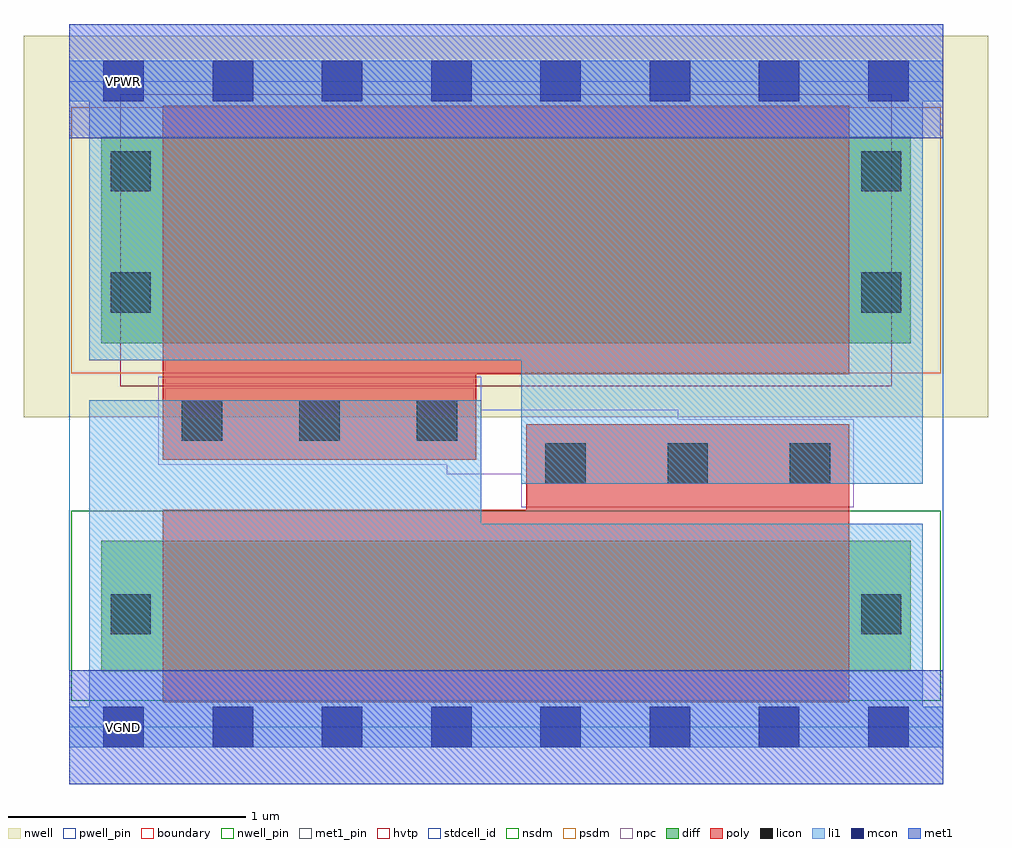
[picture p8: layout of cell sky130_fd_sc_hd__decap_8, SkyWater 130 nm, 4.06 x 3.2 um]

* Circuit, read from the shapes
.subckt sky130_fd_sc_hd__decap_8 VGND VNB VPB VPWR
XM1 VGND VPWR VGND VNB sky130_fd_pr__nfet_01v8 w=0.55 l=2.89
XM2 VPWR VGND VPWR VPB sky130_fd_pr__pfet_01v8_hvt w=0.87 l=2.89
.ends

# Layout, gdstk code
import gdstk
lib = gdstk.Library(unit=1e-6, precision=1e-09)
def R(c, l, rs):  # rectangles x0, y0, x1, y1
    for r in rs: c.add(gdstk.rectangle(r[:2], r[2:], *l))
def A(c, l, x, y, w, h, nx, ny, dx, dy):  # array of equal rectangles
    R(c, l, [(x+i*dx, y+j*dy, x+i*dx+w, y+j*dy+h) for i in range(nx) for j in range(ny)])
nwell_pin = (64, 16)
nwell = (64, 20)
diff = (65, 20)
poly = (66, 20)
licon = (66, 44)
li1 = (67, 20)
mcon = (67, 44)
met1_pin = (68, 16)
met1 = (68, 20)
hvtp = (78, 44)
stdcell_id = (81, 4)
nsdm = (93, 44)
psdm = (94, 20)
npc = (95, 20)
pwell_pin = (122, 16)
boundary = (235, 4)

sky130_fd_sc_hd__decap_8 = lib.new_cell('sky130_fd_sc_hd__decap_8')
R(sky130_fd_sc_hd__decap_8, nwell_pin, [(0.145,2.635,0.315,2.805)])
R(sky130_fd_sc_hd__decap_8, nwell, [(-0.19,1.305,3.87,2.91)])
R(sky130_fd_sc_hd__decap_8, diff, [(0.135,0.235,3.545,0.785), (0.135,1.615,3.545,2.485)])
R(sky130_fd_sc_hd__decap_8, poly, [(0.395,0.105,3.285,0.915), (1.925,0.915,3.285,1.275), (0.395,1.125,1.715,1.485), (0.395,1.485,3.285,2.615)])
A(sky130_fd_sc_hd__decap_8, licon, 2.005, 1.025, 0.17, 0.17, 3, 1, 0.515, 0)
A(sky130_fd_sc_hd__decap_8, licon, 0.475, 1.205, 0.17, 0.17, 3, 1, 0.495, 0)
R(sky130_fd_sc_hd__decap_8, licon, [(0.175,0.39,0.345,0.56), (3.335,0.39,3.505,0.56), (0.175,1.745,0.345,1.915), (3.335,1.745,3.505,1.915), (0.175,2.255,0.345,2.425), (3.335,2.255,3.505,2.425)])
R(sky130_fd_sc_hd__decap_8, li1, [(0,-0.085,3.68,0.085), (0.085,0.085,3.595,0.855), (0.085,0.855,1.735,1.375), (1.905,1.025,3.595,1.545), (0.085,1.545,3.595,2.635), (0,2.635,3.68,2.805)])
A(sky130_fd_sc_hd__decap_8, mcon, 0.145, -0.085, 0.17, 0.17, 8, 2, 0.46, 2.72)
R(sky130_fd_sc_hd__decap_8, met1_pin, [(0.145,-0.085,0.315,0.085), (0.145,2.635,0.315,2.805)])
R(sky130_fd_sc_hd__decap_8, met1, [(0,-0.24,3.68,0.24), (0,2.48,3.68,2.96)])
R(sky130_fd_sc_hd__decap_8, hvtp, [(0.215,1.435,3.465,2.665)])
R(sky130_fd_sc_hd__decap_8, stdcell_id, [(0,0,3.68,2.72)])
R(sky130_fd_sc_hd__decap_8, nsdm, [(0.01,0.11,3.67,0.91)])
R(sky130_fd_sc_hd__decap_8, psdm, [(0.01,1.49,3.67,2.61)])
R(sky130_fd_sc_hd__decap_8, npc, [(1.905,0.925,3.305,1.065), (1.59,1.065,3.305,1.105), (0.375,1.105,3.305,1.295), (0.375,1.295,2.565,1.335), (0.375,1.335,1.735,1.475)])
R(sky130_fd_sc_hd__decap_8, pwell_pin, [(0.145,-0.085,0.315,0.085)])
R(sky130_fd_sc_hd__decap_8, boundary, [(0,0,3.68,2.72)])
sky130_fd_sc_hd__decap_8.add(gdstk.Label('VPWR', (0.23,2.72), layer=68, texttype=5))
sky130_fd_sc_hd__decap_8.add(gdstk.Label('VGND', (0.23,0), layer=68, texttype=5))
sky130_fd_sc_hd__decap_8.add(gdstk.Label('VPB', (0.23,2.72), layer=64, texttype=5))
sky130_fd_sc_hd__decap_8.add(gdstk.Label('VNB', (0.23,0), layer=64, texttype=59))

lib.write_gds('sky130_fd_sc_hd__decap_8.gds')
